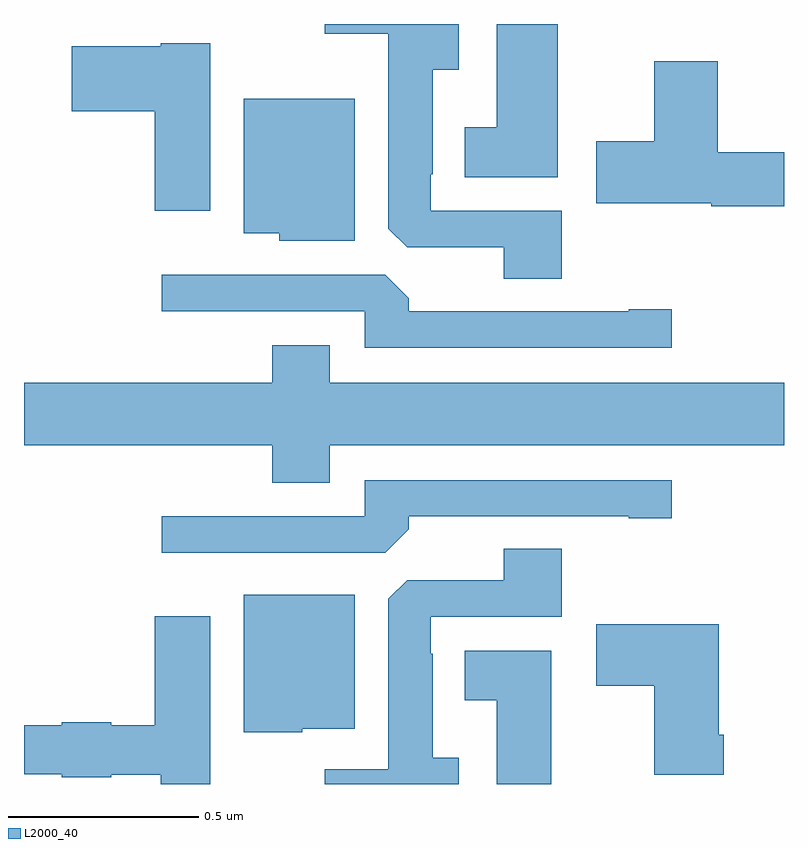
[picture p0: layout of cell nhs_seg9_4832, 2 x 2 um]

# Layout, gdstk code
import gdstk
lib = gdstk.Library(unit=1e-6, precision=1e-09)
def P(c, l, *ps):  # polygons
    for p in ps: c.add(gdstk.Polygon(p, *l))
L2000_40 = (2000, 40)

nhs_seg9_4832 = lib.new_cell('nhs_seg9_4832')
P(nhs_seg9_4832, L2000_40, [(172.405,1225.5),(172.244,1225.5),(172.244,1225.228),(172.16,1225.228),(172.16,1225.097),(172.405,1225.097)],
  [(172.415,1225.008),(172.071,1225.008),(172.071,1225.105),(172.075,1225.105),(172.075,1225.379),(172.144,1225.379),(172.144,1225.5),(171.792,1225.5),(171.792,1225.475),(171.959,1225.475),(171.959,1224.961),(172.008,1224.912),(172.262,1224.912),(172.262,1224.829),(172.415,1224.829)],
  [(171.49,1225.45),(171.36,1225.45),(171.36,1225.441),(171.126,1225.441),(171.126,1225.271),(171.344,1225.271),(171.344,1225.008),(171.49,1225.008)],
  [(173,1225.163),(172.826,1225.163),(172.826,1225.402),(172.658,1225.402),(172.658,1225.191),(172.506,1225.191),(172.506,1225.028),(172.809,1225.028),(172.809,1225.021),(173,1225.021)],
  [(171.871,1225.303),(171.578,1225.303),(171.578,1224.95),(171.672,1224.95),(171.672,1224.929),(171.871,1224.929)],
  [(172.705,1224.749),(172.592,1224.749),(172.592,1224.744),(172.013,1224.744),(172.013,1224.778),(171.951,1224.84),(171.363,1224.84),(171.363,1224.744),(171.897,1224.744),(171.897,1224.648),(172.705,1224.648)],
  [(171.805,1224.392),(173,1224.392),(173,1224.556),(171.805,1224.556),(171.805,1224.655),(171.653,1224.655),(171.653,1224.556),(171,1224.556),(171,1224.392),(171.653,1224.392),(171.653,1224.293),(171.805,1224.293)],
  [(172.013,1224.17),(172.013,1224.204),(172.592,1224.204),(172.592,1224.199),(172.705,1224.199),(172.705,1224.3),(171.897,1224.3),(171.897,1224.204),(171.363,1224.204),(171.363,1224.108),(171.951,1224.108)],
  [(172.144,1223.569),(172.075,1223.569),(172.075,1223.843),(172.071,1223.843),(172.071,1223.94),(172.415,1223.94),(172.415,1224.119),(172.262,1224.119),(172.262,1224.036),(172.008,1224.036),(171.959,1223.987),(171.959,1223.539),(171.792,1223.539),(171.792,1223.5),(172.144,1223.5)],
  [(171.732,1223.645),(171.871,1223.645),(171.871,1223.998),(171.578,1223.998),(171.578,1223.636),(171.732,1223.636)],
  [(171.49,1223.941),(171.344,1223.941),(171.344,1223.655),(171.23,1223.655),(171.23,1223.662),(171.099,1223.662),(171.099,1223.654),(171,1223.654),(171,1223.526),(171.099,1223.526),(171.099,1223.518),(171.23,1223.518),(171.23,1223.525),(171.36,1223.525),(171.36,1223.5),(171.49,1223.5)],
  [(172.841,1223.629),(172.828,1223.629),(172.828,1223.92),(172.506,1223.92),(172.506,1223.758),(172.658,1223.758),(172.658,1223.525),(172.841,1223.525)],
  [(172.387,1223.851),(172.16,1223.851),(172.16,1223.72),(172.244,1223.72),(172.244,1223.5),(172.387,1223.5)])

lib.write_gds('nhs_seg9_4832.gds')
